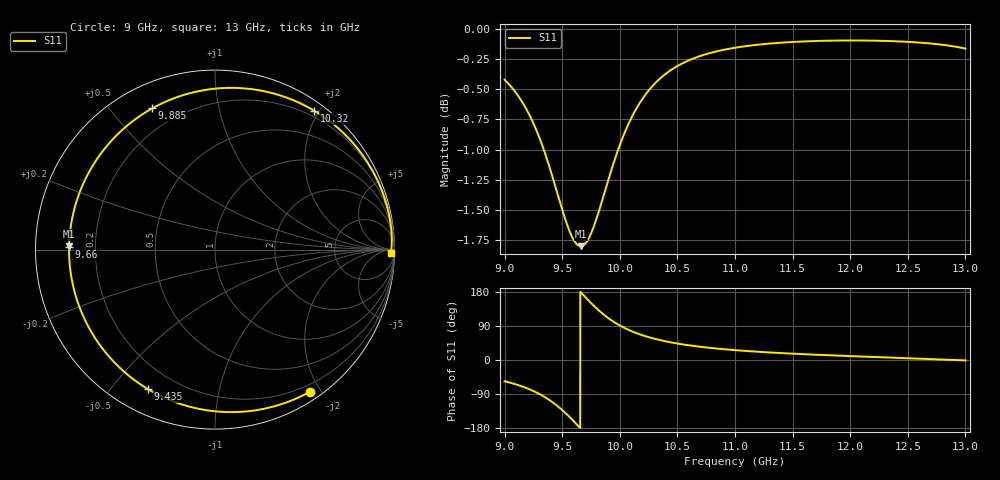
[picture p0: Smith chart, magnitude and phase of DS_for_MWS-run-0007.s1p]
! TOUCHSTONE file generated by CST DESIGN STUDIO
! Date and time: Tue Feb  4 17:36:28 2025
! Project name: C:\Work\MatlabApps\UnitCellOptimizationMatlab\CST\unitcell.cst
! Tree item: Tasks\Sweep1\SPara1\S-Parameters
! Header version: 2024
! Port assignment regex: !\s*Touchstone port\s*([0-9]+)\s*=\s*(CST MWS port|CST DES external port|CST DES block port)\s*(.+)\s* \(\"(.*)\"\)(\s*mode\s*([0-9]+))?.*
! Touchstone port assignment:
! Touchstone port 1 = CST DES external port 1 ("")
# GHz S MA R 50
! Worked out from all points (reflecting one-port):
!   4001 points, 9 GHz to 13 GHz, reference 50 ohm
!   lowest |S11| = -1.8 dB at 9.661 GHz (marker M1), VSWR 9.70, Z = 5.16 + j0.564 ohm
!   phase of S11 starts at -56 deg and turns -305 deg over the sweep
!   S11 on the Smith chart (normalised r, x): 9 GHz: 0.11, -1.87; 9.435 GHz: 0.10, -0.62; 9.66 GHz: 0.10, +0.01; 9.885 GHz: 0.11, +0.65; 10.32 GHz: 0.12, +1.94; 13 GHz: 55, -52
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9  0.9524 -56.1
9.109  0.9392 -65.4
9.219  0.9204 -77.7
9.338  0.8917 -95.9
9.388  0.8771 -105.5
9.435  0.8623 -115.7
9.5  0.8418 -132.1
9.586  0.8202 -157.2
9.624  0.8148 -169.3
9.66  0.813 179.0
9.661  0.813 178.7
9.719  0.8173 160.0
9.782  0.8304 140.8
9.833  0.8449 126.7
9.885  0.8611 113.9
9.94  0.8781 102.1
10  0.8951 91.0
10.075  0.9132 79.6
10.152  0.9281 70.0
10.234  0.9406 61.7
10.323  0.951 54.4
10.5  0.9649 43.4
10.719  0.9749 34.1
11  0.9819 26.0
11.5  0.9873 16.7
12  0.9887 10.3
12.5  0.9874 4.9
13  0.9811 -1.0
